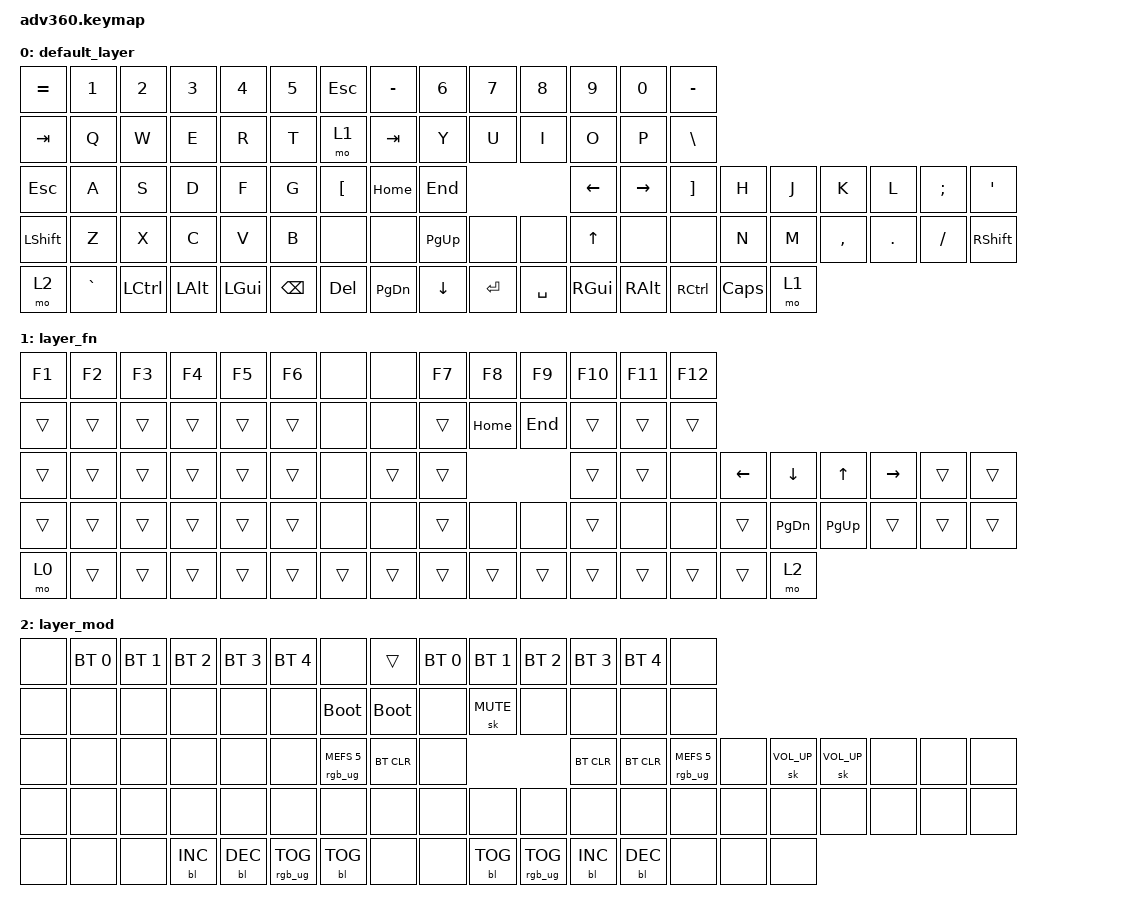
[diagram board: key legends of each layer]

/*
 * Copyright (c) 2020 The ZMK Contributors
 *
 * SPDX-License-Identifier: MIT
 */


/* THIS FILE WAS GENERATED!
 *
 * This file was generated automatically. You may or may not want to
 * edit it directly.
 */

#include <behaviors.dtsi>
#include <dt-bindings/zmk/keys.h>
#include <dt-bindings/zmk/bt.h>
#include <dt-bindings/zmk/rgb.h>
#include <dt-bindings/zmk/backlight.h>

/ {
  behaviors {
    #include "macros.dtsi"

    hm: homerow_mods {
        compatible = "zmk,behavior-hold-tap";
        label = "HOMEROW_MODS";
        #binding-cells = <2>;
        tapping-term-ms = <200>;
        quick_tap_ms = <175>;
        flavor = "tap-preferred";
        bindings = <&kp>, <&kp>;
    };
  };

    keymap {
        compatible = "zmk,keymap";


        default_layer {
            bindings = <
 &kp EQUAL     &kp N1     &kp N2    &kp N3    &kp N4    &kp N5             &kp ESC      &kp MINUS       &kp N6     &kp N7     &kp N8          &kp N9     &kp N0  &kp MINUS
   &kp TAB      &kp Q      &kp W     &kp E     &kp R     &kp T               &mo 1        &kp TAB        &kp Y      &kp U      &kp I           &kp O      &kp P   &kp BSLH
   &kp ESC      &kp A      &kp S     &kp D     &kp F     &kp G            &kp LBKT       &kp HOME      &kp END                        &kp LEFT_ARROW  &kp RIGHT   &kp RBKT     &kp H   &kp J      &kp K    &kp L  &kp SEMI    &kp SQT
 &kp LSHFT      &kp Z      &kp X     &kp C     &kp V     &kp B               &none          &none  &kp PAGE_UP      &none      &none          &kp UP      &none      &none     &kp N   &kp M  &kp COMMA  &kp DOT  &kp FSLH  &kp RSHFT
     &mo 2  &kp GRAVE  &kp LCTRL  &kp LALT  &kp LGUI  &kp BSPC             &kp DEL  &kp PAGE_DOWN     &kp DOWN  &kp ENTER  &kp SPACE        &kp RGUI   &kp RALT  &kp RCTRL  &kp CAPS   &mo 1
            >;
        };

        layer_fn {
            bindings = <
 &kp F1  &kp F2  &kp F3  &kp F4  &kp F5  &kp F6             &none   &none  &kp F7    &kp F8   &kp F9  &kp F10  &kp F11  &kp F12
 &trans  &trans  &trans  &trans  &trans  &trans             &none   &none  &trans  &kp HOME  &kp END   &trans   &trans   &trans
 &trans  &trans  &trans  &trans  &trans  &trans             &none  &trans  &trans                      &trans   &trans    &none  &kp LEFT_ARROW  &kp DOWN_ARROW  &kp UP_ARROW  &kp RIGHT_ARROW  &trans  &trans
 &trans  &trans  &trans  &trans  &trans  &trans             &none   &none  &trans     &none    &none   &trans    &none    &none          &trans   &kp PAGE_DOWN   &kp PAGE_UP           &trans  &trans  &trans
  &mo 0  &trans  &trans  &trans  &trans  &trans            &trans  &trans  &trans    &trans   &trans   &trans   &trans   &trans          &trans           &mo 2
            >;
        };

        layer_mod {
            bindings = <
  &none  &bt BT_SEL 0  &bt BT_SEL 1  &bt BT_SEL 2  &bt BT_SEL 3     &bt BT_SEL 4                             &none       &trans  &bt BT_SEL 0  &bt BT_SEL 1     &bt BT_SEL 2  &bt BT_SEL 3  &bt BT_SEL 4                   &none
  &none         &none         &none         &none         &none            &none                       &bootloader  &bootloader         &none    &sk K_MUTE            &none         &none         &none                   &none
  &none         &none         &none         &none         &none            &none            &rgb_ug RGB_MEFS_CMD 5   &bt BT_CLR         &none                                   &bt BT_CLR    &bt BT_CLR  &rgb_ug RGB_MEFS_CMD 5   &none  &sk K_VOLUME_UP  &sk K_VOLUME_UP   &none   &none   &none
  &none         &none         &none         &none         &none            &none                             &none        &none         &none         &none            &none         &none         &none                   &none   &none            &none            &none   &none   &none   &none
  &none         &none         &none    &bl BL_INC    &bl BL_DEC  &rgb_ug RGB_TOG                        &bl BL_TOG        &none         &none    &bl BL_TOG  &rgb_ug RGB_TOG    &bl BL_INC    &bl BL_DEC                   &none   &none            &none
            >;
        };

    };
};
